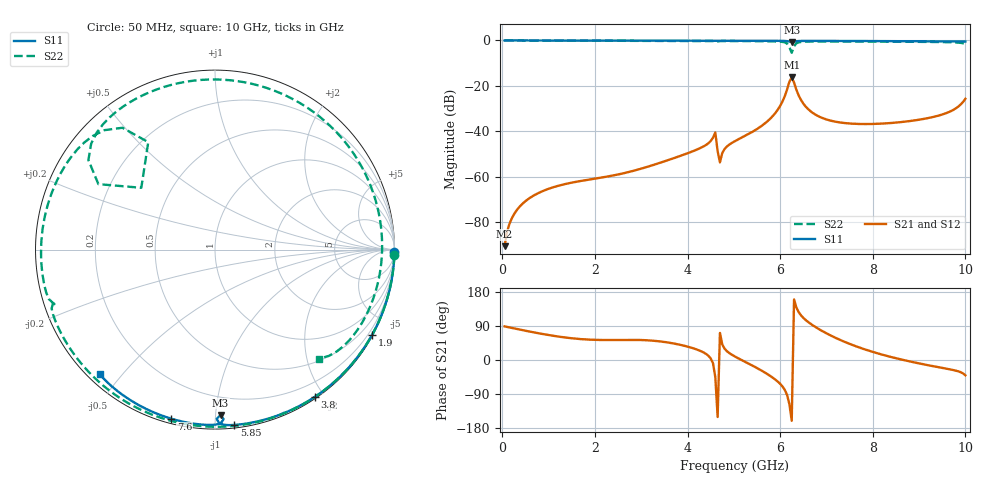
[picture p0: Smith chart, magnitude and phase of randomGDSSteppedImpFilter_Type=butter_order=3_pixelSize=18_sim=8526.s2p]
! freq	dB(S11)	phase(S11)	dB(S12)	phase(S12)
!  dB(S21)	phase(S21)	dB(S22)	phase(S22)
!S-par simulation data
#  GHz  S  DB  R 50
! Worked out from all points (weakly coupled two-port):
!   200 points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, 50 MHz to 10 GHz, reference 50 ohm
!   highest |S21| = -16.25 dB at 6.25 GHz (marker M1); lowest = -90.5 dB at 50 MHz (marker M2)
!   lowest |S11| = -0.7 dB at 6.25 GHz (marker M3), VSWR 24.37, Z = 4.24 - j51.5 ohm
!   |S11| at or under -10 dB: nowhere
!   |S22| runs from -5.4 to 0.0 dB; largest |S21 - S12| = 0
!   S11 on the Smith chart (normalised r, x): 50 MHz: open; 1.9 GHz: 0.03, -3.91; 3.8 GHz: 0.02, -1.88; 5.85 GHz: 0.02, -1.12; 7.6 GHz: 0.02, -0.77; 10 GHz: 0.03, -0.44
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0.05  -0.00 -0.8  -90.53 88.6  -90.53 88.6  -0.00 -1.9
0.75  -0.01 -11.4  -67.45 71.3  -67.45 71.3  -0.03 -27.4
1.75  -0.03 -26.4  -61.64 54.7  -61.64 54.7  -0.08 -63.0
1.9  -0.04 -28.7  -61.14 53.6  -61.14 53.6  -0.08 -68.2
2.65  -0.05 -39.6  -58.29 53.1  -58.29 53.1  -0.12 -94.0
3.4  -0.07 -50.4  -53.88 49.2  -53.88 49.2  -0.15 -119.4
3.8  -0.08 -56.0  -51.12 41.2  -51.12 41.2  -0.17 -133.1
4.4  -0.09 -64.2  -45.99 16.1  -45.99 16.1  -0.22 -154.2
4.6  -0.11 -67.0  -40.51 -45.5  -40.51 -45.5  -0.50 -162.4
4.7  -0.10 -68.2  -53.65 71.5  -53.65 71.5  -0.30 -163.5
4.8  -0.10 -69.6  -47.76 29.9  -47.76 29.9  -0.26 -167.7
5.05  -0.11 -72.9  -44.02 7.4  -44.02 7.4  -0.27 -177.3
5.85  -0.15 -83.7  -33.05 -47.5  -33.05 -47.5  -0.40 149.1
6.15  -0.31 -88.7  -21.56 -92.5  -21.56 -92.5  -1.39 127.2
6.25  -0.71 -88.1  -16.25 -160.4  -16.25 -160.4  -5.42 140.0
6.35  -0.32 -87.9  -21.68 138.6  -21.68 138.6  -1.27 144.7
6.7  -0.20 -93.3  -31.82 92.0  -31.82 92.0  -0.46 120.1
7.6  -0.24 -104.5  -36.67 37.8  -36.67 37.8  -0.48 74.9
8.35  -0.29 -113.5  -36.39 9.3  -36.39 9.3  -0.54 36.9
9.25  -0.37 -124.0  -33.92 -15.1  -33.92 -15.1  -0.65 -7.3
9.75  -0.44 -129.8  -30.43 -26.8  -30.43 -26.8  -0.84 -31.6
10  -0.50 -132.8  -25.67 -40.4  -25.67 -40.4  -1.52 -46.5
